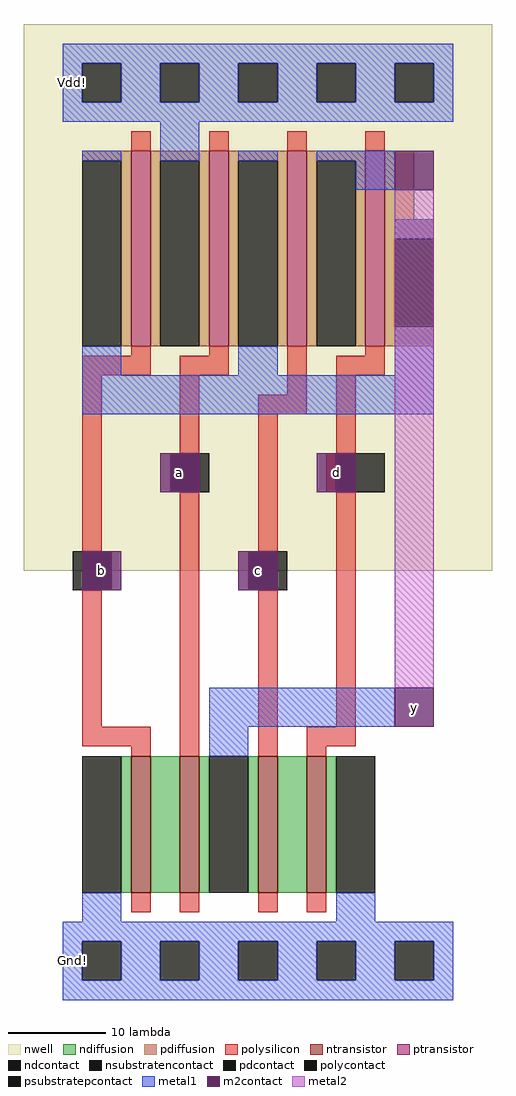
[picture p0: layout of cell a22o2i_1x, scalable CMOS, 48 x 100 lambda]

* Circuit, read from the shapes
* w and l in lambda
.subckt a22o2i_1x Gnd! Vdd! a b c d y
M1 n1 b Gnd! Gnd! nfet w=14 l=2
M2 y a n1 Gnd! nfet w=14 l=2
M3 n2 c y Gnd! nfet w=14 l=2
M4 Gnd! d n2 Gnd! nfet w=14 l=2
M5 Vdd! b n3 Vdd! pfet w=20 l=2
M6 n3 a Vdd! Vdd! pfet w=20 l=2
M7 y c n3 Vdd! pfet w=20 l=2
M8 n3 d y Vdd! pfet w=20 l=2
.ends

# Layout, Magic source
magic
tech scmos
<< nwell >>
rect -6 40 42 96
<< ntransistor >>
rect 5 7 7 21
rect 10 7 12 21
rect 18 7 20 21
rect 23 7 25 21
<< ptransistor >>
rect 5 63 7 83
rect 13 63 15 83
rect 21 63 23 83
rect 29 63 31 83
<< ndiffusion >>
rect 4 7 5 21
rect 7 7 10 21
rect 12 7 13 21
rect 17 7 18 21
rect 20 7 23 21
rect 25 7 26 21
<< pdiffusion >>
rect 0 82 5 83
rect 4 63 5 82
rect 7 82 13 83
rect 7 63 8 82
rect 12 63 13 82
rect 15 82 21 83
rect 15 63 16 82
rect 20 63 21 82
rect 23 82 29 83
rect 23 63 24 82
rect 28 63 29 82
rect 31 76 34 83
rect 31 74 36 76
rect 31 65 32 74
rect 31 63 36 65
<< ndcontact >>
rect 0 7 4 21
rect 13 7 17 21
rect 26 7 30 21
<< pdcontact >>
rect 0 63 4 82
rect 8 63 12 82
rect 16 63 20 82
rect 24 63 28 82
rect 32 65 36 74
<< psubstratepcontact >>
rect 0 -2 4 2
rect 8 -2 12 2
rect 16 -2 20 2
rect 24 -2 28 2
rect 32 -2 36 2
<< nsubstratencontact >>
rect 0 88 4 92
rect 8 88 12 92
rect 16 88 20 92
rect 24 88 28 92
rect 32 88 36 92
<< polysilicon >>
rect 5 83 7 85
rect 13 83 15 85
rect 21 83 23 85
rect 29 83 31 85
rect 5 62 7 63
rect 13 62 15 63
rect 0 60 7 62
rect 10 60 15 62
rect 0 42 2 60
rect 10 52 12 60
rect 21 58 23 63
rect 29 62 31 63
rect 18 56 23 58
rect 26 60 31 62
rect 0 24 2 38
rect 0 22 7 24
rect 5 21 7 22
rect 10 21 12 48
rect 18 42 20 56
rect 26 52 28 60
rect 25 48 26 52
rect 18 21 20 38
rect 26 24 28 48
rect 23 22 28 24
rect 23 21 25 22
rect 5 5 7 7
rect 10 5 12 7
rect 18 5 20 7
rect 23 5 25 7
<< polycontact >>
rect 9 48 13 52
rect -1 38 3 42
rect 26 48 31 52
rect 17 38 21 42
<< metal1 >>
rect -2 92 38 94
rect -2 88 0 92
rect 4 88 8 92
rect 12 88 16 92
rect 20 88 24 92
rect 28 88 32 92
rect 36 88 38 92
rect -2 86 38 88
rect 0 82 4 83
rect 8 82 12 86
rect 16 82 20 83
rect 24 82 32 83
rect 28 79 32 82
rect 32 74 36 76
rect 0 60 4 63
rect 16 60 20 63
rect 32 60 36 65
rect 0 56 36 60
rect 13 24 32 28
rect 13 21 17 24
rect 0 4 4 7
rect 26 4 30 7
rect -2 2 38 4
rect -2 -2 0 2
rect 4 -2 8 2
rect 12 -2 16 2
rect 20 -2 24 2
rect 28 -2 32 2
rect 36 -2 38 2
rect -2 -4 38 -2
<< m2contact >>
rect 32 79 36 83
rect 8 48 9 52
rect 9 48 12 52
rect 24 48 26 52
rect 26 48 28 52
rect 0 38 3 42
rect 3 38 4 42
rect 16 38 17 42
rect 17 38 20 42
rect 32 24 36 28
<< metal2 >>
rect 32 28 36 79
<< labels >>
rlabel m2contact 2 40 2 40 1 b
rlabel m2contact 10 50 10 50 1 a
rlabel m2contact 18 40 18 40 1 c
rlabel m2contact 26 50 26 50 1 d
rlabel m2contact 34 26 34 26 1 y
rlabel metal1 -1 0 -1 0 2 Gnd!
rlabel metal1 -1 90 -1 90 3 Vdd!
<< end >>
